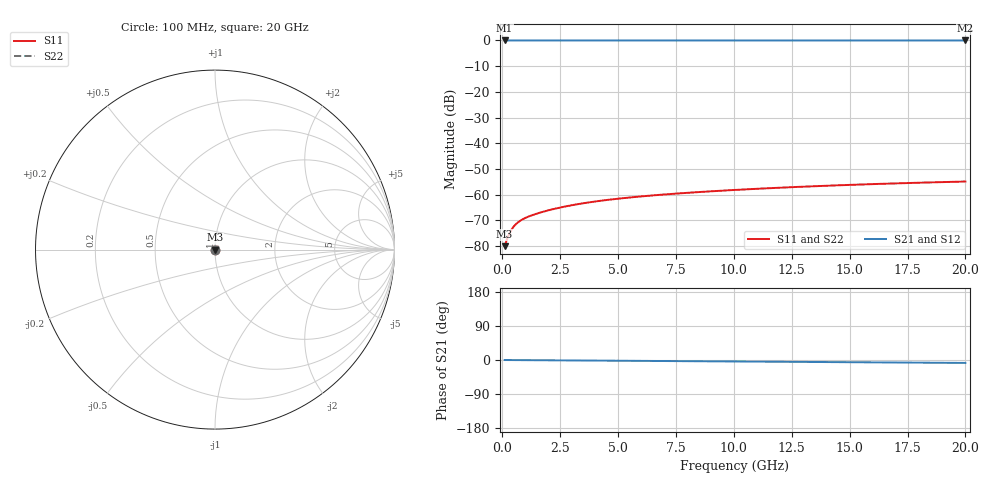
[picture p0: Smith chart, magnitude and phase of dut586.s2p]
! Touchstone file exported from HFSS 2026.1.0
!  File:  C:/ffzhzh/LocalFiles/Ansys_Project_Files/temp_train_TSV_586_1783025146_46388.aedt
!  Generated:  04:47:19 AM Jul  3, 2026
!  Design:  TSV
!  Project:  temp_train_TSV_586_1783025146_46388
! Variables:
!  h_bsmrdl = 2um
!  h_ox = 20um
!  h_rdl = 5um
!  h_sub = 75.84um
!  h_tmrdl = 5um
!  h_tsv = 75.84um
!  h_via = 3um
!  l_bsmrdl = 300um
!  l_sub = 424.96um
!  l_tmrdl = 200um
!  m_sub = 200um
!  pitch = 50.39um
!  r_tsv = 12.48um
!  s_tmrdl = 10um
!  w_bsmrdl = 18um
!  w_sub = 500um
!  w_tmrdl = 12um
!  x_tsv_center1 = 206um
!  x_tsv_center2 = 524um
!  x_tsv_center3 = 736um
!  x_tsv_center4 = 1054um
!  x_tsv_center5 = 1266um
!  x_tsv_center6 = 1584um
# GHz S MA R 50.000000
! Terminal data exported
! Port[1] = TSV1_1_T1
! Port[2] = TSV1_1_T2
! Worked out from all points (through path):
!   200 points, 100 MHz to 20 GHz, reference 50 ohm
!   highest |S21| = 0.00 dB at 100 MHz (marker M1); lowest = 0.0 dB at 20 GHz (marker M2)
!   group delay of S21, straight-line fit = 1.08 ps
!   lowest |S11| = -80.0 dB at 100 MHz (marker M3), VSWR 1.00, Z = 50 + j0.00467 ohm
!   |S11| at or under -10 dB: start of sweep to end of sweep
!   |S22| runs from -80.0 to -54.9 dB; largest |S21 - S12| = 1.2e-15
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0.1  9.964e-05 27.9  0.9999 -0.0  0.9999 -0.0  9.964e-05 27.9
! Gamma 0 0 0 0
! Port Impedance 50 0 50 0
0.2  0.000135 41.5  0.9999 -0.1  0.9999 -0.1  0.000135 41.5
0.3  0.0001739 46.5  0.9999 -0.1  0.9999 -0.1  0.0001739 46.5
0.4  0.0002103 48.0  0.9999 -0.2  0.9999 -0.2  0.0002103 48.0
0.5  0.0002425 48.1  0.9998 -0.2  0.9998 -0.2  0.0002425 48.1
0.6  0.0002704 47.8  0.9998 -0.2  0.9998 -0.2  0.0002704 47.8
0.7  0.0002948 47.3  0.9998 -0.3  0.9998 -0.3  0.0002948 47.3
0.9  0.0003358 46.7  0.9998 -0.4  0.9998 -0.4  0.0003357 46.7
1.1  0.0003701 46.5  0.9997 -0.4  0.9997 -0.4  0.0003701 46.5
1.3  0.0004009 46.6  0.9997 -0.5  0.9997 -0.5  0.0004008 46.6
1.9  0.0004844 47.7  0.9997 -0.7  0.9997 -0.7  0.0004843 47.7
2.7  0.000587 48.8  0.9996 -1.1  0.9996 -1.1  0.0005871 48.8
3.5  0.0006814 49.3  0.9996 -1.4  0.9996 -1.4  0.0006814 49.3
4.2  0.0007568 49.4  0.9995 -1.6  0.9995 -1.6  0.0007569 49.4
5  0.0008359 49.4  0.9995 -2.0  0.9995 -2.0  0.000836 49.4
5.8  0.0009088 49.3  0.9994 -2.3  0.9994 -2.3  0.0009089 49.3
6.8  0.0009933 49.3  0.9994 -2.7  0.9994 -2.7  0.0009935 49.3
8.3  0.001111 49.2  0.9993 -3.2  0.9993 -3.2  0.001111 49.2
10.1  0.001241 49.0  0.9993 -3.9  0.9993 -3.9  0.001241 49.0
13.4  0.001456 48.4  0.9991 -5.2  0.9991 -5.2  0.001457 48.4
16.7  0.001644 47.5  0.999 -6.5  0.999 -6.5  0.001644 47.5
20  0.001803 46.4  0.9989 -7.8  0.9989 -7.8  0.001804 46.4
